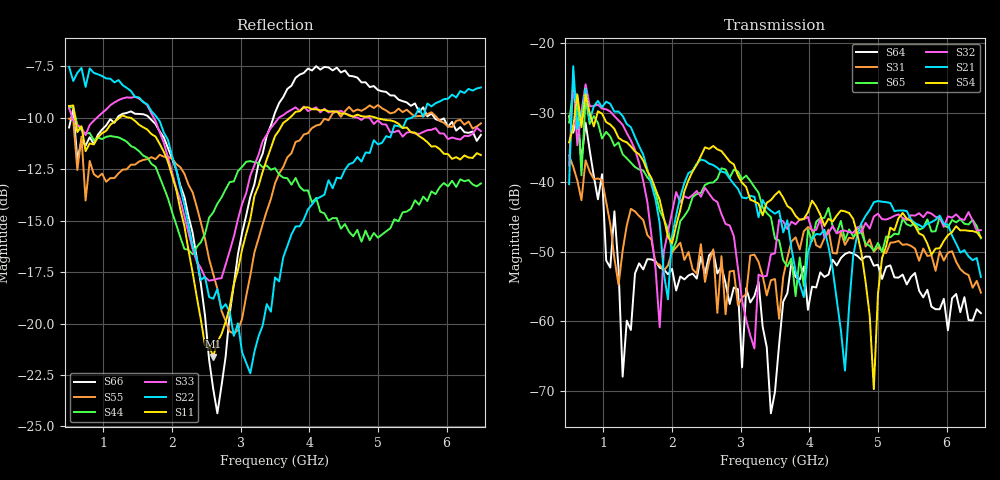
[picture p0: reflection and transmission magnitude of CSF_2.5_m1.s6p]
!Keysight Technologies,M9804A,MY58100912,A.14.10.03
!Date: Thursday, April 27, 2023 10:28:33
!Correction: S11(C  6-Port  )
!S12(C  6-Port  )
!S13(C  6-Port  )
!S14(C  6-Port  )
!S15(C  6-Port  )
!S16(C  6-Port  )
!S21(C  6-Port  )
!S22(C  6-Port  )
!S23(C  6-Port  )
!S24(C  6-Port  )
!S25(C  6-Port  )
!S26(C  6-Port  )
!S31(C  6-Port  )
!S32(C  6-Port  )
!S33(C  6-Port  )
!S34(C  6-Port  )
!S35(C  6-Port  )
!S36(C  6-Port  )
!S41(C  6-Port  )
!S42(C  6-Port  )
!S43(C  6-Port  )
!S44(C  6-Port  )
!S45(C  6-Port  )
!S46(C  6-Port  )
!S51(C  6-Port  )
!S52(C  6-Port  )
!S53(C  6-Port  )
!S54(C  6-Port  )
!S55(C  6-Port  )
!S56(C  6-Port  )
!S61(C  6-Port  )
!S62(C  6-Port  )
!S63(C  6-Port  )
!S64(C  6-Port  )
!S65(C  6-Port  )
!S66(C  6-Port  )
!S6P File: Measurement: :
# Hz S  RI  R 50
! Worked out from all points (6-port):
!   101 points, 500 MHz to 6.5 GHz, reference 50 ohm
!   strongest paths, dB at 500 MHz, 2 GHz, 3.5 GHz, 5 GHz, 6.5 GHz:
!     S54: -34.3, -48.8, -41.8, -56.1, -47.9
!     S21: -40.3, -47.7, -44.5, -42.7, -53.6
!     S32: -37.6, -44.3, -50.2, -44.5, -46.9
!     S65: -31.4, -49.9, -48.1, -48.7, -48.1
!     S31: -36.2, -50.1, -53.9, -49.3, -55.9
!     S64: -30.5, -52.5, -70.1, -51.9, -58.8
!   lowest |S11| = -21.6 dB at 2.6 GHz (marker M1), VSWR 1.18, Z = 42.6 + j2.05 ohm
!   |S11| at or under -10 dB: 587.9 MHz to 1.235 GHz (647.2 MHz wide, 71 % of centre); 1.397 GHz to 3.715 GHz (2.318 GHz wide, 90.7 % of centre); 4.972 GHz to end of sweep
